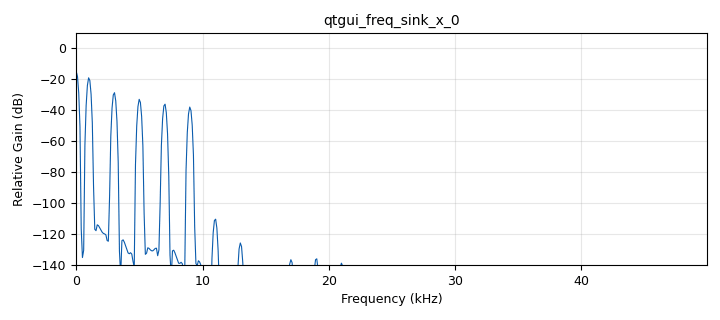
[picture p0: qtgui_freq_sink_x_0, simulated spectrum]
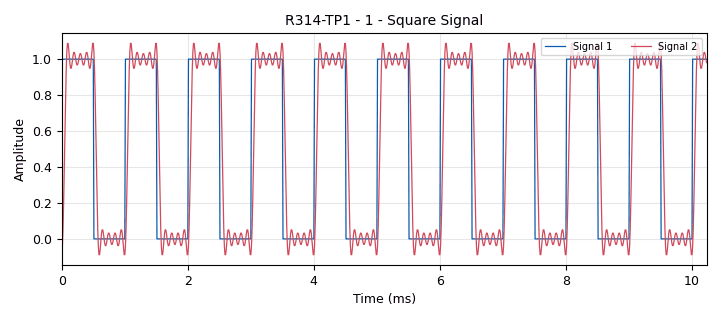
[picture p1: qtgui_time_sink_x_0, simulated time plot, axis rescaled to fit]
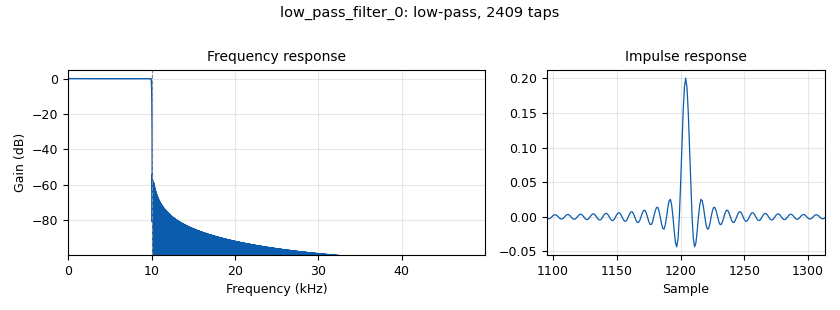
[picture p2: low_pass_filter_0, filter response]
options:
  parameters:
    author: Alexis Opolka
    copyright: Alexis Opolka
    description: Simple GNURadio diagram
    generate_options: qt_gui
    id: schema_1
    output_language: python
    title: R314-TP1 Schema
  states: {}

blocks:
- name: cutoff_freq
  id: variable_qtgui_range
  parameters:
    start: '1000'
    step: '1000'
    stop: '10000'
    value: '10000'
  states: {}
- name: samp_rate
  id: variable
  parameters:
    value: '100000'
  states: {}
- name: analog_sig_source_x_0
  id: analog_sig_source_x
  parameters:
    amp: '1'
    freq: '1000'
    offset: '0'
    phase: '0'
    samp_rate: samp_rate
    type: float
    waveform: analog.GR_SQR_WAVE
  states: {}
- name: blocks_throttle2_0
  id: blocks_throttle2
  parameters:
    samples_per_second: samp_rate
    type: float
  states: {}
- name: low_pass_filter_0
  id: low_pass_filter
  parameters:
    cutoff_freq: cutoff_freq
    decim: '1'
    gain: '1'
    samp_rate: samp_rate
    type: fir_filter_fff
    width: '100'
    win: window.WIN_HAMMING
  states: {}
- name: qtgui_freq_sink_x_0
  id: qtgui_freq_sink_x
  parameters:
    bw: samp_rate
    color1: '"red"'
    ctrlpanel: 'True'
    fc: '0'
    fftsize: '1024'
    freqhalf: 'False'
    type: float
  states: {}
- name: qtgui_time_sink_x_0
  id: qtgui_time_sink_x
  parameters:
    ctrlpanel: 'True'
    name: '"R314-TP1 - 1 - Square Signal"'
    nconnections: '2'
    size: '1024'
    srate: samp_rate
    tr_mode: qtgui.TRIG_MODE_NORM
    type: float
  states: {}

connections:
- [analog_sig_source_x_0, '0', blocks_throttle2_0, '0']
- [blocks_throttle2_0, '0', low_pass_filter_0, '0']
- [blocks_throttle2_0, '0', qtgui_time_sink_x_0, '0']
- [low_pass_filter_0, '0', qtgui_freq_sink_x_0, '0']
- [low_pass_filter_0, '0', qtgui_time_sink_x_0, '1']

metadata:
  file_format: 1
  grc_version: 3.10.6.0
